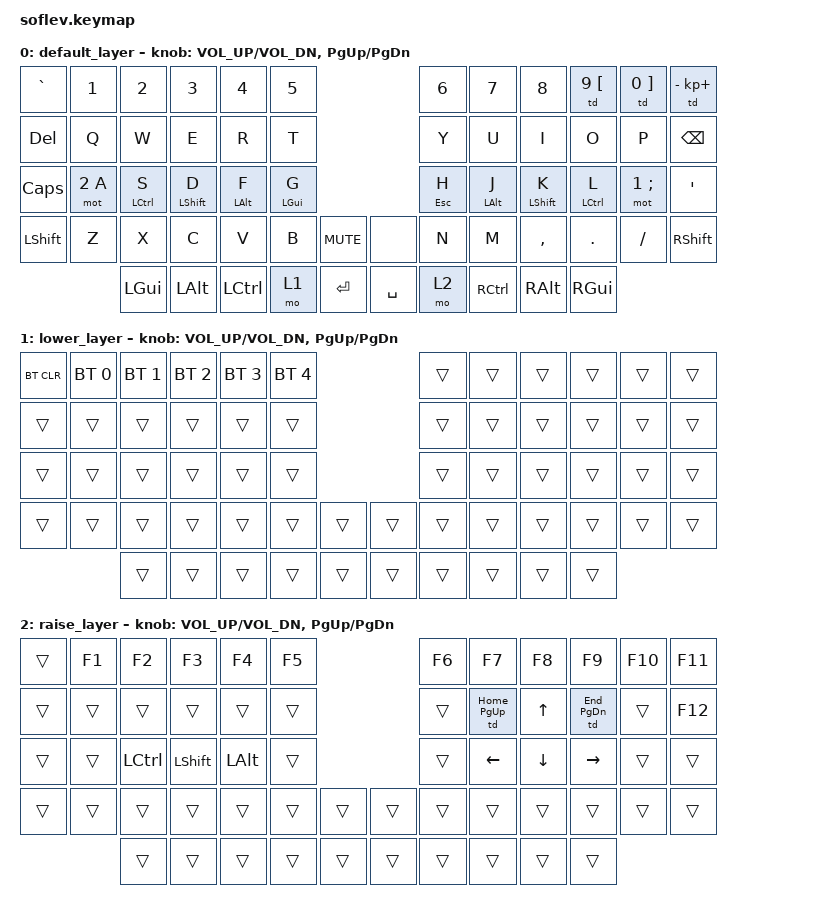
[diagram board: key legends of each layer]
/*
 * Copyright (c) 2020 The ZMK Contributors
 *
 * SPDX-License-Identifier: MIT
 */

#include <behaviors.dtsi>
#include <dt-bindings/zmk/keys.h>
#include <dt-bindings/zmk/bt.h>
#define DEFAULT 0
#define LOWER   1
#define RAISE   2

/ {
    behaviors {
        mo_tog: behavior_mo_tap {
            compatible = "zmk,behavior-hold-tap";
            label = "MO_TAP";
            #binding-cells = <2>;
            flavor = "hold-preferred";
            tapping-term-ms = <200>;
            bindings = <&mo>, <&kp>;
        };
    };

    behaviors {
        td: tap_dance {
            compatible = "zmk,behavior-tap-dance";
            label = "TAP_DANCE";
            #binding-cells = <2>;
            tapping-term-ms = <200>;
            bindings = <&kp>, <&kp>;
        };
    };

    keymap {
        compatible = "zmk,keymap";

        default_layer {
// ------------------------------------------------------------------------------------------------------------
// |  `    |  1       |  2           |  3           |  4         |  5         |                   |  6        |  7          |  8            |  td 9 [     |  td 0 ]     | td - +|
// |  DEL  |  Q       |  W           |  E           |  R         |  T         |                   |  Y        |  U          |  I            |  O          |   P         | BKSPC |
// |  CAPS |  mot 2 A |  mt LCTRL S  |  mt LSHIFT D |  mt LALT F |  mt LGUI G |                   |  mt ESC H |  mt LALT J  |  mt LSHIFT K  |  mt LCTRL L |   mot 1 ;   |   '   |
// | SHIFT |  Z       |  X           |  C           |  V         |  B         |  MUTE  |  |       |  N        |  M          |  ,            |  .          |   /         | SHIFT |
//                    | GUI          | ALT          | CTRL       | SPACE      |  BKSPC |  | TAB   | ENTER     |  LANG1      |  LANG2        | GUI         |
            bindings = <
&kp GRAVE &kp N1    &kp N2       &kp N3       &kp N4      &kp N5                           &kp N6     &kp N7       &kp N8        &td N9 LBKT   &td N0 RBKT &td MINUS KP_PLUS
&kp DEL   &kp Q     &kp W        &kp E        &kp R       &kp T                            &kp Y      &kp U        &kp I         &kp O         &kp P       &kp BSPC
&kp CLCK  &mot 2 A  &mt LCTRL S  &mt LSHFT D  &mt LALT F  &mt LGUI G                       &mt ESC H  &mt LALT J   &mt LSHFT K   &mt LCTRL L   &mot 1 SEMI &kp SQT
&kp LSHFT &kp Z     &kp X        &kp C        &kp V       &kp B       &kp C_MUTE &none     &kp N      &kp M        &kp COMMA     &kp DOT       &kp FSLH    &kp RSHFT
                    &kp LGUI     &kp LALT     &kp LCTRL   &mo 1       &kp RET    &kp SPACE &mo 2      &kp RCTRL    &kp RALT      &kp RGUI
            >;

            sensor-bindings = <&inc_dec_kp C_VOL_UP C_VOL_DN &inc_dec_kp PG_UP PG_DN>;
        };

        lower_layer {
// ------------------------------------------------------------------------------------------------------------
// |BTCLR| BT1  | BT2  |  BT3  |  BT4  |  BT5 |                |      |      |       |      |       |       |
// |     |      |      |       |       |      |      |  |      |      |      |       |      |       |       |
// |     |      |      |       |       |      |      |  |      |      |      |       |      |       |       |
// |     |      |      |       |       |      |      |  |      |      |      |       |      |       |       |
//              |      |       |       |      |      |  |      |      |      |       |      |
            bindings = <
&bt BT_CLR &bt BT_SEL 0 &bt BT_SEL 1 &bt BT_SEL 2 &bt BT_SEL 3 &bt BT_SEL 4                &trans    &trans   &trans    &trans         &trans    &trans
&trans     &trans       &trans       &trans       &trans       &trans                      &trans    &trans   &trans    &trans         &trans    &trans
&trans     &trans       &trans       &trans       &trans       &trans                      &trans    &trans   &trans    &trans         &trans    &trans
&trans     &trans       &trans       &trans       &trans       &trans    &trans   &trans   &trans    &trans   &trans    &trans         &trans    &trans
                        &trans       &trans       &trans       &trans    &trans   &trans   &trans    &trans   &trans    &trans
            >;

            sensor-bindings = <&inc_dec_kp C_VOL_UP C_VOL_DN &inc_dec_kp PG_UP PG_DN>;
        };

        raise_layer {
// TODO: Some binds are waiting for shifted keycode support.
// ------------------------------------------------------------------------------------------------------------
// |    |  F1 |  F2 |  F3  |  F4  |  F5  |                   |  F6  |  F7        |  F8   |  F9         |  F10  |  F11  |
// |    |     |     |      |      |      |                   |      |td HOME PGUP|   ^   |td END PGDN  |       |  F12  |
// |    |     |LCTRL|LSHIFT| LALT |      |                   |      |   <-       |   v   |  ->         |       |       |
// |    |     |     |      |      |      |        |  |       |      |            |       |             |       |       |
//            |     |      |      |      |        |  |       |      |            |       |             |
            bindings = <
&trans    &kp F1    &kp F2    &kp F3      &kp F4    &kp F5                    &kp F6    &kp F7           &kp F8    &kp F9         &kp F10   &kp F11
&trans    &trans    &trans    &trans      &trans    &trans                    &trans    &td HOME PG_UP   &kp UP    &td END PG_DN  &trans    &kp F12
&trans    &trans    &kp LCTRL &kp LSHFT   &kp LALT  &trans                    &trans    &kp LEFT         &kp DOWN  &kp RIGHT      &trans    &trans
&trans    &trans    &trans    &trans      &trans    &trans  &trans   &trans   &trans    &trans           &trans    &trans         &trans    &trans
                    &trans    &trans      &trans    &trans  &trans   &trans   &trans    &trans           &trans    &trans
            >;

            sensor-bindings = <&inc_dec_kp C_VOL_UP C_VOL_DN &inc_dec_kp PG_UP PG_DN>;
        };
    };
};
